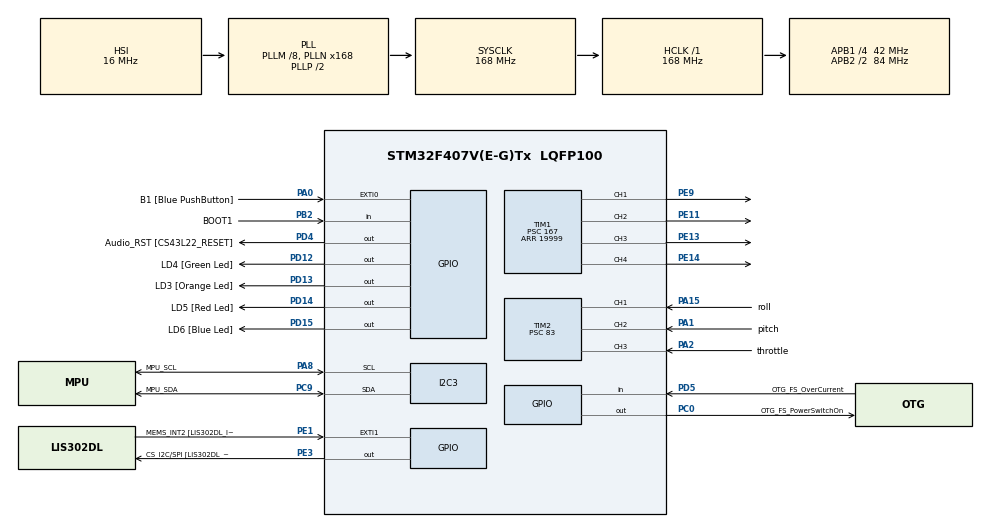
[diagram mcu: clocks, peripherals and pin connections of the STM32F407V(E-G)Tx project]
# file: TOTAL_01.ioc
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Mcu.Family=STM32F4
Mcu.Name=STM32F407V(E-G)Tx
Mcu.Package=LQFP100
NVIC.PriorityGroup=NVIC_PRIORITYGROUP_0
NVIC.TIM2_IRQn=true\:0\:0\:false\:false\:true\:true\:true\:true
PA0-WKUP.GPIO_Label=B1 [Blue PushButton]
PA0-WKUP.Signal=GPXTI0
PA1.GPIO_Label=pitch
PA1.Signal=S_TIM2_CH2
PA10.GPIO_Label=OTG_FS_ID
PA10.GPIO_Mode=GPIO_MODE_AF_PP
PA10.GPIO_PuPd=GPIO_NOPULL
PA10.GPIO_Speed=GPIO_SPEED_FREQ_LOW
PA10.Signal=USB_OTG_FS_ID
PA11.GPIO_Label=OTG_FS_DM
PA11.GPIO_Mode=GPIO_MODE_AF_PP
PA11.GPIO_PuPd=GPIO_NOPULL
PA11.GPIO_Speed=GPIO_SPEED_FREQ_LOW
PA11.Signal=USB_OTG_FS_DM
PA12.GPIO_Label=OTG_FS_DP
PA12.GPIO_Mode=GPIO_MODE_AF_PP
PA12.GPIO_PuPd=GPIO_NOPULL
PA12.GPIO_Speed=GPIO_SPEED_FREQ_LOW
PA12.Signal=USB_OTG_FS_DP
PA13.GPIO_Label=SWDIO
PA13.Mode=Serial_Wire
PA13.Signal=SYS_JTMS-SWDIO
PA14.GPIO_Label=SWCLK
PA14.Mode=Serial_Wire
PA14.Signal=SYS_JTCK-SWCLK
PA15.GPIO_Label=roll
PA15.Signal=S_TIM2_CH1_ETR
PA2.GPIO_Label=throttle
PA2.Signal=S_TIM2_CH3
PA4.GPIO_Label=I2S3_WS [CS43L22_LRCK]
PA4.GPIO_Mode=GPIO_MODE_AF_PP
PA4.GPIO_PuPd=GPIO_NOPULL
PA4.GPIO_Speed=GPIO_SPEED_FREQ_LOW
PA4.Signal=I2S3_WS
PA5.GPIO_Label=SPI1_SCK [LIS302DL_SCL/SPC]
PA5.GPIO_Mode=GPIO_MODE_AF_PP
PA5.GPIO_PuPd=GPIO_NOPULL
PA5.GPIO_Speed=GPIO_SPEED_FREQ_LOW
PA5.Signal=SPI1_SCK
PA6.GPIO_Label=SPI1_MISO [LIS302DL_SDO]
PA6.GPIO_Mode=GPIO_MODE_AF_PP
PA6.GPIO_PuPd=GPIO_NOPULL
PA6.GPIO_Speed=GPIO_SPEED_FREQ_LOW
PA6.Signal=SPI1_MISO
PA7.GPIO_Label=SPI1_MOSI [LIS302DL_SDA/SDI/SDO]
PA7.GPIO_Mode=GPIO_MODE_AF_PP
PA7.GPIO_PuPd=GPIO_NOPULL
PA7.GPIO_Speed=GPIO_SPEED_FREQ_LOW
PA7.Signal=SPI1_MOSI
PA8.GPIO_Label=MPU_SCL
PA8.Mode=I2C
PA8.Signal=I2C3_SCL
PA9.GPIO_Label=VBUS_FS
PA9.GPIO_Mode=GPIO_MODE_INPUT
PA9.GPIO_PuPd=GPIO_NOPULL
PA9.Signal=USB_OTG_FS_VBUS
PB10.GPIO_Label=CLK_IN [MP45DT02_CLK]
PB10.GPIO_Mode=GPIO_MODE_AF_PP
PB10.GPIO_PuPd=GPIO_NOPULL
PB10.GPIO_Speed=GPIO_SPEED_FREQ_LOW
PB10.Signal=I2S2_CK
PB2.GPIO_Label=BOOT1
PB2.GPIO_Mode=GPIO_MODE_INPUT
PB2.GPIO_PuPd=GPIO_NOPULL
PB2.Signal=GPIO_Input
PB3.GPIO_Label=SWO
PB3.Signal=SYS_JTDO-SWO
PB6.GPIO_Label=Audio_SCL [CS43L22_SCL]
PB6.GPIO_Mode=GPIO_MODE_AF_OD
PB6.GPIO_PuPd=GPIO_NOPULL
PB6.GPIO_Speed=GPIO_SPEED_FREQ_LOW
PB6.Signal=I2C1_SCL
PB9.GPIO_Label=Audio_SDA [CS43L22_SDA]
PB9.GPIO_Mode=GPIO_MODE_AF_OD
PB9.GPIO_PuPd=GPIO_NOPULL
PB9.GPIO_Speed=GPIO_SPEED_FREQ_LOW
PB9.Signal=I2C1_SDA
PC0.GPIO_Label=OTG_FS_PowerSwitchOn
PC0.GPIO_PuPd=GPIO_NOPULL
PC0.GPIO_Speed=GPIO_SPEED_FREQ_LOW
PC0.PinState=GPIO_PIN_SET
PC0.Signal=GPIO_Output
PC10.GPIO_Label=I2S3_SCK [CS43L22_SCLK]
PC10.GPIO_Mode=GPIO_MODE_AF_PP
PC10.GPIO_PuPd=GPIO_NOPULL
PC10.GPIO_Speed=GPIO_SPEED_FREQ_LOW
PC10.Signal=I2S3_CK
PC12.GPIO_Label=I2S3_SD [CS43L22_SDIN]
PC12.GPIO_Mode=GPIO_MODE_AF_PP
PC12.GPIO_PuPd=GPIO_NOPULL
PC12.GPIO_Speed=GPIO_SPEED_FREQ_LOW
PC12.Signal=I2S3_SD
PC14-OSC32_IN.GPIO_Label=PC14-OSC32_IN
PC14-OSC32_IN.Signal=RCC_OSC32_IN
PC15-OSC32_OUT.GPIO_Label=PC15-OSC32_OUT
PC15-OSC32_OUT.Signal=RCC_OSC32_OUT
PC3.GPIO_Label=PDM_OUT [MP45DT02_DOUT]
PC3.GPIO_Mode=GPIO_MODE_AF_PP
PC3.GPIO_PuPd=GPIO_NOPULL
PC3.GPIO_Speed=GPIO_SPEED_FREQ_LOW
PC3.Signal=I2S2_SD
PC7.GPIO_Label=I2S3_MCK [CS43L22_MCLK]
PC7.GPIO_Mode=GPIO_MODE_AF_PP
PC7.GPIO_PuPd=GPIO_NOPULL
PC7.GPIO_Speed=GPIO_SPEED_FREQ_LOW
PC7.Signal=I2S3_MCK
PC9.GPIO_Label=MPU_SDA
PC9.Mode=I2C
PC9.Signal=I2C3_SDA
PD12.GPIO_Label=LD4 [Green Led]
PD12.GPIO_PuPd=GPIO_NOPULL
PD12.GPIO_Speed=GPIO_SPEED_FREQ_LOW
PD12.Signal=GPIO_Output
PD13.GPIO_Label=LD3 [Orange Led]
PD13.GPIO_PuPd=GPIO_NOPULL
PD13.GPIO_Speed=GPIO_SPEED_FREQ_LOW
PD13.Signal=GPIO_Output
PD14.GPIO_Label=LD5 [Red Led]
PD14.GPIO_PuPd=GPIO_NOPULL
PD14.GPIO_Speed=GPIO_SPEED_FREQ_LOW
PD14.Signal=GPIO_Output
PD15.GPIO_Label=LD6 [Blue Led]
PD15.GPIO_PuPd=GPIO_NOPULL
PD15.GPIO_Speed=GPIO_SPEED_FREQ_LOW
PD15.Signal=GPIO_Output
PD4.GPIO_Label=Audio_RST [CS43L22_RESET]
PD4.GPIO_PuPd=GPIO_NOPULL
PD4.GPIO_Speed=GPIO_SPEED_FREQ_LOW
PD4.Signal=GPIO_Output
PD5.GPIO_Label=OTG_FS_OverCurrent
PD5.GPIO_Mode=GPIO_MODE_INPUT
PD5.GPIO_PuPd=GPIO_NOPULL
PD5.Signal=GPIO_Input
PE1.GPIO_Label=MEMS_INT2 [LIS302DL_INT2]
PE1.GPIO_ModeDefaultEXTI=GPIO_MODE_EVT_RISING
PE1.GPIO_PuPd=GPIO_NOPULL
PE1.Signal=GPXTI1
PE11.Signal=S_TIM1_CH2
PE13.Signal=S_TIM1_CH3
PE14.Signal=S_TIM1_CH4
PE3.GPIO_Label=CS_I2C/SPI [LIS302DL_CS_I2C/SPI]
PE3.GPIO_PuPd=GPIO_NOPULL
PE3.GPIO_Speed=GPIO_SPEED_FREQ_LOW
PE3.Signal=GPIO_Output
PE9.Signal=S_TIM1_CH1
PH0-OSC_IN.GPIO_Label=PH0-OSC_IN
PH0-OSC_IN.Mode=HSE-External-Oscillator
PH0-OSC_IN.Signal=RCC_OSC_IN
PH1-OSC_OUT.GPIO_Label=PH1-OSC_OUT
PH1-OSC_OUT.Mode=HSE-External-Oscillator
PH1-OSC_OUT.Signal=RCC_OSC_OUT
ProjectManager.HeapSize=0x200
ProjectManager.StackSize=0x400
ProjectManager.TargetToolchain=STM32CubeIDE
RCC.48MHZClocksFreq_Value=48000000
RCC.AHBFreq_Value=168000000
RCC.APB1CLKDivider=RCC_HCLK_DIV4
RCC.APB1Freq_Value=42000000
RCC.APB1TimFreq_Value=84000000
RCC.APB2CLKDivider=RCC_HCLK_DIV2
RCC.APB2Freq_Value=84000000
RCC.APB2TimFreq_Value=168000000
RCC.CortexFreq_Value=168000000
RCC.HCLKFreq_Value=168000000
RCC.HSE_VALUE=8000000
RCC.HSI_VALUE=16000000
RCC.LSE_VALUE=32768
RCC.PLLM=8
RCC.PLLN=168
RCC.PLLQ=7
RCC.SYSCLKFreq_VALUE=168000000
RCC.SYSCLKSource=RCC_SYSCLKSOURCE_PLLCLK
RCC.VCOOutputFreq_Value=336000000
SH.S_TIM1_CH1.0=TIM1_CH1,PWM Generation1 CH1
SH.S_TIM1_CH2.0=TIM1_CH2,PWM Generation2 CH2
SH.S_TIM1_CH3.0=TIM1_CH3,PWM Generation3 CH3
SH.S_TIM1_CH4.0=TIM1_CH4,PWM Generation4 CH4
SH.S_TIM2_CH1_ETR.0=TIM2_CH1,Input_Capture1_from_TI1
SH.S_TIM2_CH2.0=TIM2_CH2,Input_Capture2_from_TI2
SH.S_TIM2_CH3.0=TIM2_CH3,Input_Capture3_from_TI3
TIM1.Channel-PWM\ Generation1\ CH1=TIM_CHANNEL_1
TIM1.Channel-PWM\ Generation2\ CH2=TIM_CHANNEL_2
TIM1.Channel-PWM\ Generation3\ CH3=TIM_CHANNEL_3
TIM1.Channel-PWM\ Generation4\ CH4=TIM_CHANNEL_4
TIM1.Period=19999
TIM1.Prescaler=167
TIM2.Channel-Input_Capture1_from_TI1=TIM_CHANNEL_1
TIM2.Channel-Input_Capture2_from_TI2=TIM_CHANNEL_2
TIM2.Channel-Input_Capture3_from_TI3=TIM_CHANNEL_3
TIM2.Prescaler=83
VP_TIM1_VS_ClockSourceINT.Mode=Internal
VP_TIM2_VS_ClockSourceINT.Mode=Internal
board=STM32F407G-DISC1

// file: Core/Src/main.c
/* USER CODE BEGIN Header */
/**
  ******************************************************************************
  * @file           : main.c
  * @brief          : Main program body
  ******************************************************************************
  * @attention
  *
  * Copyright (c) 2023 STMicroelectronics.
  * All rights reserved.
  *
  * This software is licensed under terms that can be found in the LICENSE file
  * in the root directory of this software component.
  * If no LICENSE file comes with this software, it is provided AS-IS.
  *
  ******************************************************************************
  */
/* USER CODE END Header */
#include "main.h"

/* USER CODE BEGIN Includes */
#include "types.h"
#include "mpu.h"

/* USER CODE END Includes */

I2C_HandleTypeDef hi2c3;

TIM_HandleTypeDef htim1;
TIM_HandleTypeDef htim2;

void SystemClock_Config(void);
static void MX_GPIO_Init(void);
static void MX_TIM1_Init(void);
static void MX_I2C3_Init(void);
static void MX_TIM2_Init(void);

/* USER CODE BEGIN 0 */
struct ReceiverCommands _ReceiverCommands;
float dt;
SensorData_t pSensor;

struct MotorPowers motorPowers;

unsigned long t1;
unsigned long t2;
unsigned long diff;

double roll_pid_i, roll_last_error, pitch_pid_i, pitch_last_error, yaw_pid_i, yaw_last_error;
double roll_control_signal, pitch_control_signal, yaw_control_signal;

double rollError;
double pitchError;
float meanR,meanP;

/* USER CODE END 0 */

int main(void)
{
  /* USER CODE BEGIN 1 */
	CoreDebug->DEMCR |= CoreDebug_DEMCR_TRCENA_Msk;
	DWT->CYCCNT = 0;
	DWT->CTRL |= DWT_CTRL_CYCCNTENA_Msk;

  /* USER CODE END 1 */

  /* MCU Configuration--------------------------------------------------------*/

  /* Reset of all peripherals, Initializes the Flash interface and the Systick. */
  HAL_Init();

  /* Configure the system clock */
  SystemClock_Config();

  /* USER CODE BEGIN SysInit */
  HAL_Delay(1000);

  /* USER CODE END SysInit */

  /* Initialize all configured peripherals */
  MX_GPIO_Init();
  MX_TIM1_Init();
  MX_I2C3_Init();
  MX_TIM2_Init();
  /* USER CODE BEGIN 2 */
  Receiver_Init();
  Motor_Init();
  MPU6050_initialize(&pSensor,FS_500,AFS_8G);
  //(&pSensor,FS_500,AFS_8G);

  /* USER CODE END 2 */

  /* Infinite loop */
  while (1)
  {

    /* USER CODE BEGIN 3 */
	  /* do something */

	  	  mpu_Update(&pSensor);
		 if(_ReceiverCommands.Throttle<30) {
			  Stop_Motor();
			  resetPidVariables();
		  }
		  calculateMotorPowers(_ReceiverCommands);
		  Spin_Motor();
		//  HAL_Delay(1000);

  }
  /* USER CODE END 3 */
}

void SystemClock_Config(void)
{
  RCC_OscInitTypeDef RCC_OscInitStruct = {0};
  RCC_ClkInitTypeDef RCC_ClkInitStruct = {0};

  /** Configure the main internal regulator output voltage
  */
  __HAL_RCC_PWR_CLK_ENABLE();
  __HAL_PWR_VOLTAGESCALING_CONFIG(PWR_REGULATOR_VOLTAGE_SCALE1);

  /** Initializes the RCC Oscillators according to the specified parameters
  * in the RCC_OscInitTypeDef structure.
  */
  RCC_OscInitStruct.OscillatorType = RCC_OSCILLATORTYPE_HSI;
  RCC_OscInitStruct.HSIState = RCC_HSI_ON;
  RCC_OscInitStruct.HSICalibrationValue = RCC_HSICALIBRATION_DEFAULT;
  RCC_OscInitStruct.PLL.PLLState = RCC_PLL_ON;
  RCC_OscInitStruct.PLL.PLLSource = RCC_PLLSOURCE_HSI;
  RCC_OscInitStruct.PLL.PLLM = 8;
  RCC_OscInitStruct.PLL.PLLN = 168;
  RCC_OscInitStruct.PLL.PLLP = RCC_PLLP_DIV2;
  RCC_OscInitStruct.PLL.PLLQ = 7;
  if (HAL_RCC_OscConfig(&RCC_OscInitStruct) != HAL_OK)
  {
    Error_Handler();
  }

  /** Initializes the CPU, AHB and APB buses clocks
  */
  RCC_ClkInitStruct.ClockType = RCC_CLOCKTYPE_HCLK|RCC_CLOCKTYPE_SYSCLK
                              |RCC_CLOCKTYPE_PCLK1|RCC_CLOCKTYPE_PCLK2;
  RCC_ClkInitStruct.SYSCLKSource = RCC_SYSCLKSOURCE_PLLCLK;
  RCC_ClkInitStruct.AHBCLKDivider = RCC_SYSCLK_DIV1;
  RCC_ClkInitStruct.APB1CLKDivider = RCC_HCLK_DIV4;
  RCC_ClkInitStruct.APB2CLKDivider = RCC_HCLK_DIV2;

  if (HAL_RCC_ClockConfig(&RCC_ClkInitStruct, FLASH_LATENCY_5) != HAL_OK)
  {
    Error_Handler();
  }
}

static void MX_I2C3_Init(void)
{

  hi2c3.Instance = I2C3;
  hi2c3.Init.ClockSpeed = 100000;
  hi2c3.Init.DutyCycle = I2C_DUTYCYCLE_2;
  hi2c3.Init.OwnAddress1 = 0;
  hi2c3.Init.AddressingMode = I2C_ADDRESSINGMODE_7BIT;
  hi2c3.Init.DualAddressMode = I2C_DUALADDRESS_DISABLE;
  hi2c3.Init.OwnAddress2 = 0;
  hi2c3.Init.GeneralCallMode = I2C_GENERALCALL_DISABLE;
  hi2c3.Init.NoStretchMode = I2C_NOSTRETCH_DISABLE;
  if (HAL_I2C_Init(&hi2c3) != HAL_OK)
  {
    Error_Handler();
  }

}

static void MX_TIM1_Init(void)
{

  TIM_ClockConfigTypeDef sClockSourceConfig = {0};
  TIM_MasterConfigTypeDef sMasterConfig = {0};
  TIM_OC_InitTypeDef sConfigOC = {0};
  TIM_BreakDeadTimeConfigTypeDef sBreakDeadTimeConfig = {0};

  htim1.Instance = TIM1;
  htim1.Init.Prescaler = 167;
  htim1.Init.CounterMode = TIM_COUNTERMODE_UP;
  htim1.Init.Period = 19999;
  htim1.Init.ClockDivision = TIM_CLOCKDIVISION_DIV1;
  htim1.Init.RepetitionCounter = 0;
  htim1.Init.AutoReloadPreload = TIM_AUTORELOAD_PRELOAD_DISABLE;
  if (HAL_TIM_Base_Init(&htim1) != HAL_OK)
  {
    Error_Handler();
  }
  sClockSourceConfig.ClockSource = TIM_CLOCKSOURCE_INTERNAL;
  if (HAL_TIM_ConfigClockSource(&htim1, &sClockSourceConfig) != HAL_OK)
  {
    Error_Handler();
  }
  if (HAL_TIM_PWM_Init(&htim1) != HAL_OK)
  {
    Error_Handler();
  }
  sMasterConfig.MasterOutputTrigger = TIM_TRGO_RESET;
  sMasterConfig.MasterSlaveMode = TIM_MASTERSLAVEMODE_DISABLE;
  if (HAL_TIMEx_MasterConfigSynchronization(&htim1, &sMasterConfig) != HAL_OK)
  {
    Error_Handler();
  }
  sConfigOC.OCMode = TIM_OCMODE_PWM1;
  sConfigOC.Pulse = 0;
  sConfigOC.OCPolarity = TIM_OCPOLARITY_HIGH;
  sConfigOC.OCNPolarity = TIM_OCNPOLARITY_HIGH;
  sConfigOC.OCFastMode = TIM_OCFAST_DISABLE;
  sConfigOC.OCIdleState = TIM_OCIDLESTATE_RESET;
  sConfigOC.OCNIdleState = TIM_OCNIDLESTATE_RESET;
  if (HAL_TIM_PWM_ConfigChannel(&htim1, &sConfigOC, TIM_CHANNEL_1) != HAL_OK)
  {
    Error_Handler();
  }
  if (HAL_TIM_PWM_ConfigChannel(&htim1, &sConfigOC, TIM_CHANNEL_2) != HAL_OK)
  {
    Error_Handler();
  }
  if (HAL_TIM_PWM_ConfigChannel(&htim1, &sConfigOC, TIM_CHANNEL_3) != HAL_OK)
  {
    Error_Handler();
  }
  if (HAL_TIM_PWM_ConfigChannel(&htim1, &sConfigOC, TIM_CHANNEL_4) != HAL_OK)
  {
    Error_Handler();
  }
  sBreakDeadTimeConfig.OffStateRunMode = TIM_OSSR_DISABLE;
  sBreakDeadTimeConfig.OffStateIDLEMode = TIM_OSSI_DISABLE;
  sBreakDeadTimeConfig.LockLevel = TIM_LOCKLEVEL_OFF;
  sBreakDeadTimeConfig.DeadTime = 0;
  sBreakDeadTimeConfig.BreakState = TIM_BREAK_DISABLE;
  sBreakDeadTimeConfig.BreakPolarity = TIM_BREAKPOLARITY_HIGH;
  sBreakDeadTimeConfig.AutomaticOutput = TIM_AUTOMATICOUTPUT_DISABLE;
  if (HAL_TIMEx_ConfigBreakDeadTime(&htim1, &sBreakDeadTimeConfig) != HAL_OK)
  {
    Error_Handler();
  }
  HAL_TIM_MspPostInit(&htim1);

}

static void MX_TIM2_Init(void)
{

  TIM_ClockConfigTypeDef sClockSourceConfig = {0};
  TIM_MasterConfigTypeDef sMasterConfig = {0};
  TIM_IC_InitTypeDef sConfigIC = {0};

  htim2.Instance = TIM2;
  htim2.Init.Prescaler = 83;
  htim2.Init.CounterMode = TIM_COUNTERMODE_UP;
  htim2.Init.Period = 4294967295;
  htim2.Init.ClockDivision = TIM_CLOCKDIVISION_DIV1;
  htim2.Init.AutoReloadPreload = TIM_AUTORELOAD_PRELOAD_DISABLE;
  if (HAL_TIM_Base_Init(&htim2) != HAL_OK)
  {
    Error_Handler();
  }
  sClockSourceConfig.ClockSource = TIM_CLOCKSOURCE_INTERNAL;
  if (HAL_TIM_ConfigClockSource(&htim2, &sClockSourceConfig) != HAL_OK)
  {
    Error_Handler();
  }
  if (HAL_TIM_IC_Init(&htim2) != HAL_OK)
  {
    Error_Handler();
  }
  sMasterConfig.MasterOutputTrigger = TIM_TRGO_RESET;
  sMasterConfig.MasterSlaveMode = TIM_MASTERSLAVEMODE_DISABLE;
  if (HAL_TIMEx_MasterConfigSynchronization(&htim2, &sMasterConfig) != HAL_OK)
  {
    Error_Handler();
  }
  sConfigIC.ICPolarity = TIM_INPUTCHANNELPOLARITY_RISING;
  sConfigIC.ICSelection = TIM_ICSELECTION_DIRECTTI;
  sConfigIC.ICPrescaler = TIM_ICPSC_DIV1;
  sConfigIC.ICFilter = 0;
  if (HAL_TIM_IC_ConfigChannel(&htim2, &sConfigIC, TIM_CHANNEL_1) != HAL_OK)
  {
    Error_Handler();
  }
  if (HAL_TIM_IC_ConfigChannel(&htim2, &sConfigIC, TIM_CHANNEL_2) != HAL_OK)
  {
    Error_Handler();
  }
  if (HAL_TIM_IC_ConfigChannel(&htim2, &sConfigIC, TIM_CHANNEL_3) != HAL_OK)
  {
    Error_Handler();
  }

}

static void MX_GPIO_Init(void)
{
  GPIO_InitTypeDef GPIO_InitStruct = {0};

  /* GPIO Ports Clock Enable */
  __HAL_RCC_GPIOE_CLK_ENABLE();
  __HAL_RCC_GPIOC_CLK_ENABLE();
  __HAL_RCC_GPIOH_CLK_ENABLE();
  __HAL_RCC_GPIOA_CLK_ENABLE();
  __HAL_RCC_GPIOB_CLK_ENABLE();
  __HAL_RCC_GPIOD_CLK_ENABLE();

  /*Configure GPIO pin Output Level */
  HAL_GPIO_WritePin(CS_I2C_SPI_GPIO_Port, CS_I2C_SPI_Pin, GPIO_PIN_RESET);

  /*Configure GPIO pin Output Level */
  HAL_GPIO_WritePin(OTG_FS_PowerSwitchOn_GPIO_Port, OTG_FS_PowerSwitchOn_Pin, GPIO_PIN_SET);

  /*Configure GPIO pin Output Level */
  HAL_GPIO_WritePin(GPIOD, LD4_Pin|LD3_Pin|LD5_Pin|LD6_Pin
                          |Audio_RST_Pin, GPIO_PIN_RESET);

  /*Configure GPIO pin : CS_I2C_SPI_Pin */
  GPIO_InitStruct.Pin = CS_I2C_SPI_Pin;
  GPIO_InitStruct.Mode = GPIO_MODE_OUTPUT_PP;
  GPIO_InitStruct.Pull = GPIO_NOPULL;
  GPIO_InitStruct.Speed = GPIO_SPEED_FREQ_LOW;
  HAL_GPIO_Init(CS_I2C_SPI_GPIO_Port, &GPIO_InitStruct);

  /*Configure GPIO pin : OTG_FS_PowerSwitchOn_Pin */
  GPIO_InitStruct.Pin = OTG_FS_PowerSwitchOn_Pin;
  GPIO_InitStruct.Mode = GPIO_MODE_OUTPUT_PP;
  GPIO_InitStruct.Pull = GPIO_NOPULL;
  GPIO_InitStruct.Speed = GPIO_SPEED_FREQ_LOW;
  HAL_GPIO_Init(OTG_FS_PowerSwitchOn_GPIO_Port, &GPIO_InitStruct);

  /*Configure GPIO pin : PDM_OUT_Pin */
  GPIO_InitStruct.Pin = PDM_OUT_Pin;
  GPIO_InitStruct.Mode = GPIO_MODE_AF_PP;
  GPIO_InitStruct.Pull = GPIO_NOPULL;
  GPIO_InitStruct.Speed = GPIO_SPEED_FREQ_LOW;
  GPIO_InitStruct.Alternate = GPIO_AF5_SPI2;
  HAL_GPIO_Init(PDM_OUT_GPIO_Port, &GPIO_InitStruct);

  /*Configure GPIO pin : B1_Pin */
  GPIO_InitStruct.Pin = B1_Pin;
  GPIO_InitStruct.Mode = GPIO_MODE_IT_RISING;
  GPIO_InitStruct.Pull = GPIO_NOPULL;
  HAL_GPIO_Init(B1_GPIO_Port, &GPIO_InitStruct);

  /*Configure GPIO pin : I2S3_WS_Pin */
  GPIO_InitStruct.Pin = I2S3_WS_Pin;
  GPIO_InitStruct.Mode = GPIO_MODE_AF_PP;
  GPIO_InitStruct.Pull = GPIO_NOPULL;
  GPIO_InitStruct.Speed = GPIO_SPEED_FREQ_LOW;
  GPIO_InitStruct.Alternate = GPIO_AF6_SPI3;
  HAL_GPIO_Init(I2S3_WS_GPIO_Port, &GPIO_InitStruct);

  /*Configure GPIO pins : SPI1_SCK_Pin SPI1_MISO_Pin SPI1_MOSI_Pin */
  GPIO_InitStruct.Pin = SPI1_SCK_Pin|SPI1_MISO_Pin|SPI1_MOSI_Pin;
  GPIO_InitStruct.Mode = GPIO_MODE_AF_PP;
  GPIO_InitStruct.Pull = GPIO_NOPULL;
  GPIO_InitStruct.Speed = GPIO_SPEED_FREQ_LOW;
  GPIO_InitStruct.Alternate = GPIO_AF5_SPI1;
  HAL_GPIO_Init(GPIOA, &GPIO_InitStruct);

  /*Configure GPIO pin : BOOT1_Pin */
  GPIO_InitStruct.Pin = BOOT1_Pin;
  GPIO_InitStruct.Mode = GPIO_MODE_INPUT;
  GPIO_InitStruct.Pull = GPIO_NOPULL;
  HAL_GPIO_Init(BOOT1_GPIO_Port, &GPIO_InitStruct);

  /*Configure GPIO pin : CLK_IN_Pin */
  GPIO_InitStruct.Pin = CLK_IN_Pin;
  GPIO_InitStruct.Mode = GPIO_MODE_AF_PP;
  GPIO_InitStruct.Pull = GPIO_NOPULL;
  GPIO_InitStruct.Speed = GPIO_SPEED_FREQ_LOW;
  GPIO_InitStruct.Alternate = GPIO_AF5_SPI2;
  HAL_GPIO_Init(CLK_IN_GPIO_Port, &GPIO_InitStruct);

  /*Configure GPIO pins : LD4_Pin LD3_Pin LD5_Pin LD6_Pin
                           Audio_RST_Pin */
  GPIO_InitStruct.Pin = LD4_Pin|LD3_Pin|LD5_Pin|LD6_Pin
                          |Audio_RST_Pin;
  GPIO_InitStruct.Mode = GPIO_MODE_OUTPUT_PP;
  GPIO_InitStruct.Pull = GPIO_NOPULL;
  GPIO_InitStruct.Speed = GPIO_SPEED_FREQ_LOW;
  HAL_GPIO_Init(GPIOD, &GPIO_InitStruct);

  /*Configure GPIO pins : I2S3_MCK_Pin I2S3_SCK_Pin I2S3_SD_Pin */
  GPIO_InitStruct.Pin = I2S3_MCK_Pin|I2S3_SCK_Pin|I2S3_SD_Pin;
  GPIO_InitStruct.Mode = GPIO_MODE_AF_PP;
  GPIO_InitStruct.Pull = GPIO_NOPULL;
  GPIO_InitStruct.Speed = GPIO_SPEED_FREQ_LOW;
  GPIO_InitStruct.Alternate = GPIO_AF6_SPI3;
  HAL_GPIO_Init(GPIOC, &GPIO_InitStruct);

  /*Configure GPIO pin : VBUS_FS_Pin */
  GPIO_InitStruct.Pin = VBUS_FS_Pin;
  GPIO_InitStruct.Mode = GPIO_MODE_INPUT;
  GPIO_InitStruct.Pull = GPIO_NOPULL;
  HAL_GPIO_Init(VBUS_FS_GPIO_Port, &GPIO_InitStruct);

  /*Configure GPIO pins : OTG_FS_ID_Pin OTG_FS_DM_Pin OTG_FS_DP_Pin */
  GPIO_InitStruct.Pin = OTG_FS_ID_Pin|OTG_FS_DM_Pin|OTG_FS_DP_Pin;
  GPIO_InitStruct.Mode = GPIO_MODE_AF_PP;
  GPIO_InitStruct.Pull = GPIO_NOPULL;
  GPIO_InitStruct.Speed = GPIO_SPEED_FREQ_LOW;
  GPIO_InitStruct.Alternate = GPIO_AF10_OTG_FS;
  HAL_GPIO_Init(GPIOA, &GPIO_InitStruct);

  /*Configure GPIO pin : OTG_FS_OverCurrent_Pin */
  GPIO_InitStruct.Pin = OTG_FS_OverCurrent_Pin;
  GPIO_InitStruct.Mode = GPIO_MODE_INPUT;
  GPIO_InitStruct.Pull = GPIO_NOPULL;
  HAL_GPIO_Init(OTG_FS_OverCurrent_GPIO_Port, &GPIO_InitStruct);

  /*Configure GPIO pins : Audio_SCL_Pin Audio_SDA_Pin */
  GPIO_InitStruct.Pin = Audio_SCL_Pin|Audio_SDA_Pin;
  GPIO_InitStruct.Mode = GPIO_MODE_AF_OD;
  GPIO_InitStruct.Pull = GPIO_NOPULL;
  GPIO_InitStruct.Speed = GPIO_SPEED_FREQ_LOW;
  GPIO_InitStruct.Alternate = GPIO_AF4_I2C1;
  HAL_GPIO_Init(GPIOB, &GPIO_InitStruct);

  /*Configure GPIO pin : MEMS_INT2_Pin */
  GPIO_InitStruct.Pin = MEMS_INT2_Pin;
  GPIO_InitStruct.Mode = GPIO_MODE_EVT_RISING;
  GPIO_InitStruct.Pull = GPIO_NOPULL;
  HAL_GPIO_Init(MEMS_INT2_GPIO_Port, &GPIO_InitStruct);

}

void Error_Handler(void)
{
  __disable_irq();
  while (1)
  {
  }
}
